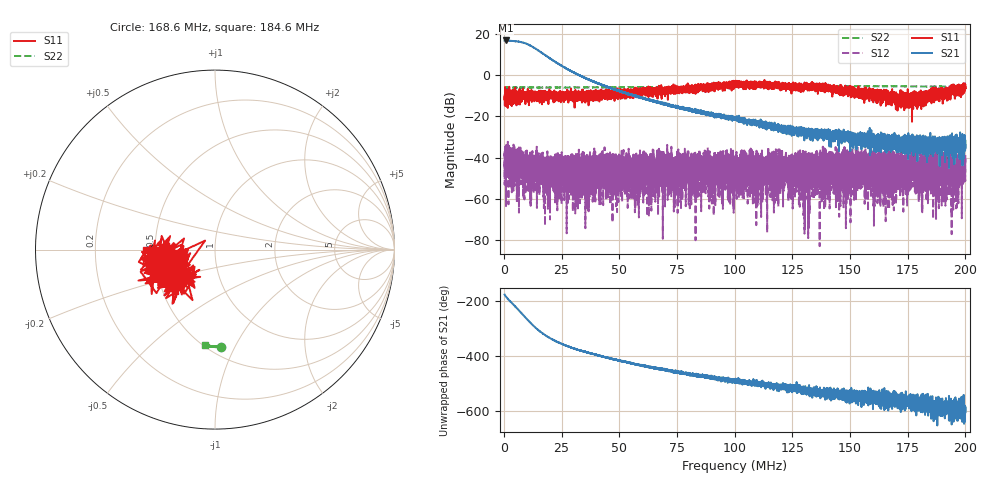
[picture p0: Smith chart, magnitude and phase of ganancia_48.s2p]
# Hz S DB R 50
! CMT, M5065, 19127446, 24.2.4/2
! Date: 10/29/2024 12:44:10 PM
! Data: Format (Calibration Info)
! Freq	S11:dB/Ang(F2)	S21:dB/Ang(F2)	S12:dB/Ang(F2)	S22:dB/Ang(F2)
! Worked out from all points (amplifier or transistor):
!   9000 points, 300 kHz to 200 MHz, reference 50 ohm
!   highest |S21| = 17.0 dB at 832.6 kHz (marker M1)
!   |S21| within 3 dB of that: start of sweep to 12.23 MHz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
!   unconditionally stable (mu >= 1): start of sweep to end of sweep
!   at 33.59 MHz: K = 151.19, MAG = 1.3 dB, |S12| = -52.7 dB
!   at 100.2 MHz: K = 285.91, MAG = -17.8 dB, |S12| = -40.6 dB
!   at 200 MHz: K = 1310.96, MAG = -31.4 dB, |S12| = -39.6 dB
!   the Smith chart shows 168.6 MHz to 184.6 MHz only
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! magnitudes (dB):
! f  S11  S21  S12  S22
! 300 kHz  -10.7  16.9  -37.0  -5.9
! 832.6 kHz  -8.8  17.0  -41.1  -6.0
! 9.398 MHz  -10.8  15.5  -48.8  -5.9
! 18.05 MHz  -10.6  9.7  -41.2  -5.9
! 26.04 MHz  -11.5  4.0  -39.8  -5.9
! 33.59 MHz  -10.1  -0.4  -52.7  -5.9
! 43.55 MHz  -7.6  -5.0  -40.9  -5.8
! 57.6 MHz  -8.2  -10.2  -46.1  -5.7
! 66.87 MHz  -8.8  -12.8  -43.3  -5.7
! 71.65 MHz  -7.3  -14.6  -39.0  -5.7
! 73.98 MHz  -8.6  -14.8  -51.7  -5.7
! 78.92 MHz  -6.5  -16.3  -50.7  -5.6
! 86.49 MHz  -5.3  -17.8  -37.8  -5.6
! 91.95 MHz  -4.7  -19.5  -44.7  -5.6
! 100.2 MHz  -4.5  -21.1  -40.6  -5.7
! 133.4 MHz  -4.8  -29.6  -45.3  -5.4
! 166.7 MHz  -11.3  -32.6  -37.3  -5.3
! 180.1 MHz  -12.4  -34.1  -45.5  -5.4
! 192.7 MHz  -7.2  -37.6  -51.7  -5.4
! 196 MHz  -6.6  -32.8  -39.2  -5.5
! 198.9 MHz  -6.4  -32.9  -42.5  -5.5
! 200 MHz  -6.3  -34.0  -39.6  -5.5
